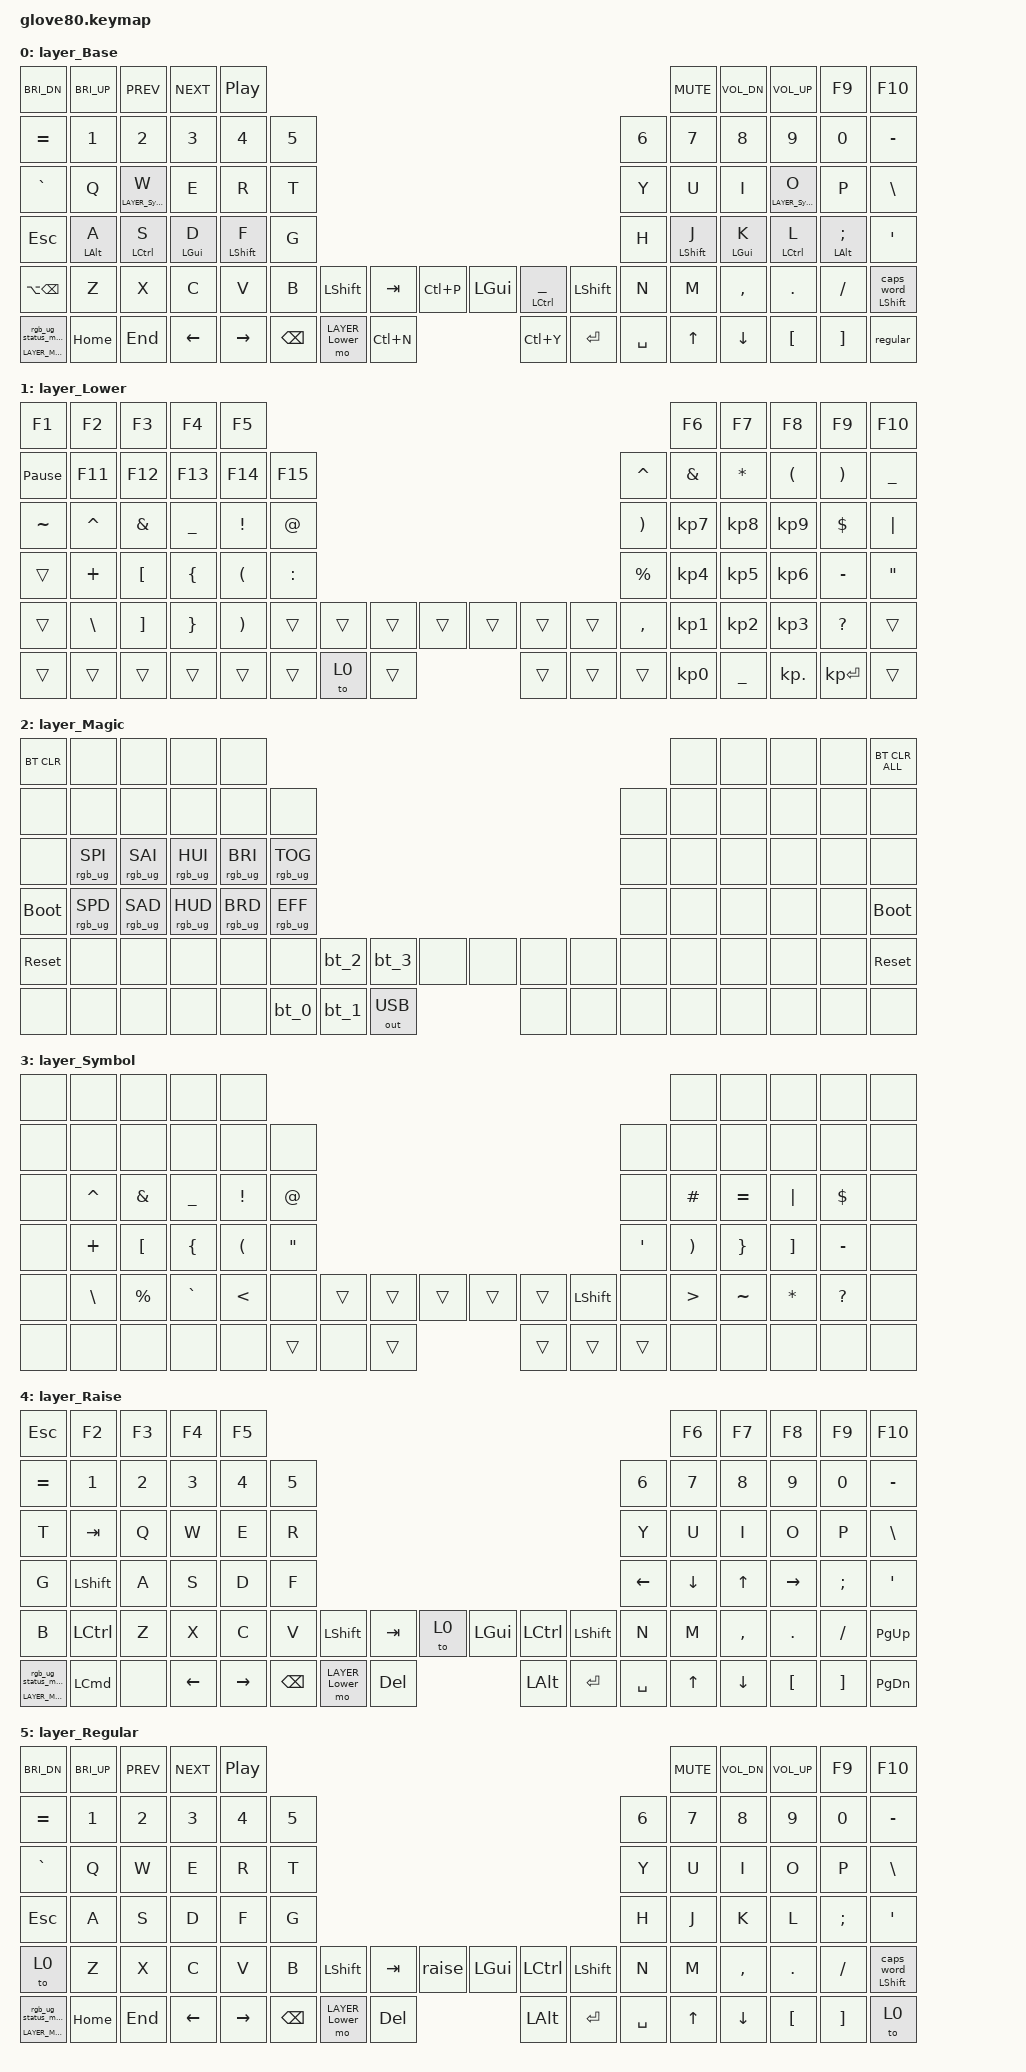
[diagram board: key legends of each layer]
/*
 * Copyright (c) 2020 The ZMK Contributors
 * Copyright (c) 2023 Innaworks Development Limited, trading as MoErgo
 *
 * SPDX-License-Identifier: MIT
 */

/*
 * Home row mods inspired by https://sunaku.github.io/home-row-mods.html#porting-to-zmk
 */

#include <behaviors.dtsi>
#include <dt-bindings/zmk/outputs.h>
#include <dt-bindings/zmk/keys.h>
#include <dt-bindings/zmk/bt.h>
#include <dt-bindings/zmk/rgb.h>

// Layer names
#define LAYER_Base 0
#define LAYER_Lower 1
#define LAYER_Magic 2
#define LAYER_Symbol 3
#define LAYER_Raise 4
#define LAYER_Regular 5

// Special keys
#define HYPER LC(LS(LG(LALT)))
#define MEH LC(LS(LALT))

// Default tapping term for hold-tap and tap-dance behaviors.
#define DEFAULT_TAPPING_TERM_MS 200

// Configure caps word to not terminate on hyphens (kebab-case) or backspace.
&caps_word {
    continue-list = <UNDERSCORE MINUS BACKSPACE>;
};

// System commands
/ {
  behaviors {
    // Raise layer key. Tap dance to toggle the layer on double tap.
    raise: raise {
      compatible = "zmk,behavior-tap-dance";
      #binding-cells = <0>;
      tapping-term-ms = <DEFAULT_TAPPING_TERM_MS>;
      bindings = <&mo LAYER_Raise>, <&to LAYER_Raise>;
    };
    // Regular keyboard layer key. Tap dance to toggle the layer on double tap.
    // Disables homerow mods. Useful for experiments comparing homerow mods to regular typing.
    regular: regular {
      compatible = "zmk,behavior-tap-dance";
      #binding-cells = <0>;
      tapping-term-ms = <DEFAULT_TAPPING_TERM_MS>;
      bindings = <&mo LAYER_Regular>, <&to LAYER_Regular>;
    };
    // Magic key. Tap for RGB status display.
    magic: magic {
      compatible = "zmk,behavior-hold-tap";
      #binding-cells = <2>;
      flavor = "tap-preferred";
      tapping-term-ms = <DEFAULT_TAPPING_TERM_MS>;
      bindings = <&mo>, <&rgb_ug_status_macro>;
    };
    // Shift/caps word key. Hold for shift, tap for caps word.
    smart_shift: smart_shift {
      compatible = "zmk,behavior-hold-tap";
      #binding-cells = <2>;
      flavor = "hold-preferred";
      tapping-term-ms = <DEFAULT_TAPPING_TERM_MS>;
      bindings = <&kp>, <&caps_word>;
    };
    // Symbol on tap, mod key on hold.
    modsym: mod_symbol {
      compatible = "zmk,behavior-hold-tap";
      #binding-cells = <2>;
      flavor = "tap-preferred";
      tapping-term-ms = <DEFAULT_TAPPING_TERM_MS>;
      bindings = <&kp>, <&kp>;
    };
  };

  macros {
    rgb_ug_status_macro: rgb_ug_status_macro {
      compatible = "zmk,behavior-macro";
      #binding-cells = <0>;
      bindings = <&rgb_ug RGB_STATUS>;
    };
  };
};

// Bluetooth
/ {
  behaviors {
    bt_0: bt_0 {
      compatible = "zmk,behavior-tap-dance";
      #binding-cells = <0>;
      tapping-term-ms = <DEFAULT_TAPPING_TERM_MS>;
      bindings = <&bt_select_0>, <&bt BT_DISC 0>;
    };
    bt_1: bt_1 {
      compatible = "zmk,behavior-tap-dance";
      #binding-cells = <0>;
      tapping-term-ms = <DEFAULT_TAPPING_TERM_MS>;
      bindings = <&bt_select_1>, <&bt BT_DISC 1>;
    };
    bt_2: bt_2 {
      compatible = "zmk,behavior-tap-dance";
      #binding-cells = <0>;
      tapping-term-ms = <DEFAULT_TAPPING_TERM_MS>;
      bindings = <&bt_select_2>, <&bt BT_DISC 2>;
    };
    bt_3: bt_3 {
      compatible = "zmk,behavior-tap-dance";
      #binding-cells = <0>;
      tapping-term-ms = <DEFAULT_TAPPING_TERM_MS>;
      bindings = <&bt_select_3>, <&bt BT_DISC 3>;
    };
  };

  macros {
    bt_select_0: bt_select_0 {
      compatible = "zmk,behavior-macro";
      #binding-cells = <0>;
      bindings = <&out OUT_BLE>, <&bt BT_SEL 0>;
    };
    bt_select_1: bt_select_1 {
      compatible = "zmk,behavior-macro";
      #binding-cells = <0>;
      bindings = <&out OUT_BLE>, <&bt BT_SEL 1>;
    };
    bt_select_2: bt_select_2 {
      compatible = "zmk,behavior-macro";
      #binding-cells = <0>;
      bindings = <&out OUT_BLE>, <&bt BT_SEL 2>;
    };
    bt_select_3: bt_select_3 {
      compatible = "zmk,behavior-macro";
      #binding-cells = <0>;
      bindings = <&out OUT_BLE>, <&bt BT_SEL 3>;
    };
  };
};

// Homerow mod configuration.
/ {
  behaviors {
    // Time before a hold is triggered.
    #define HOLDING_TIME_DEFAULT_MS 250
    // How long you need to wait after typing before home row mods can be used again.
    // Note: 100 WPM is around 120ms between keypresses.
    #define STREAK_DECAY_DEFAULT_MS 130
    // How much time you have left after tapping a key to hold it again in order to make it auto-repeat.
    #define QUICK_TAP_DEFAULT_MS 300
    // |------------------------|------------------------|
    // | LEFT_HAND_KEYS         |        RIGHT_HAND_KEYS |
    // |                        |                        |
    // |  0  1  2  3  4         |          5  6  7  8  9 |
    // | 10 11 12 13 14 15      |      16 17 18 19 20 21 |
    // | 22 23 24 25 26 27      |      28 29 30 31 32 33 |
    // | 34 35 36 37 38 39      |      40 41 42 43 44 45 |
    // | 46 47 48 49 50 51      |      58 59 60 61 62 63 |
    // | 64 65 66 67 68         |         75 76 77 78 79 |
    // |                69 52   |   57 74                |
    // |                 70 53  |  56 73                 |
    // |                  71 54 | 55 72                  |
    // |------------------------|------------------------|
    //
    #define LEFT_HAND_KEYS      \
          0  1  2  3  4         \
         10 11 12 13 14 15      \
         22 23 24 25 26 27      \
         34 35 36 37 38 39      \
         46 47 48 49 50 51      \
         64 65 66 67 68
    #define RIGHT_HAND_KEYS     \
                                           5  6  7  8  9 \
                                       16 17 18 19 20 21 \
                                       28 29 30 31 32 33 \
                                       40 41 42 43 44 45 \
                                       58 59 60 61 62 63 \
                                          75 76 77 78 79
    #define THUMB_KEYS          \
                        69 52       57 74                \
                         70 53     56 73                 \
                          71 54   55 72

    hrl: homerow_left_hand {
        compatible = "zmk,behavior-hold-tap";
        flavor = "tap-preferred";
        hold-trigger-key-positions = <RIGHT_HAND_KEYS THUMB_KEYS>;
        hold-trigger-on-release;  // Allow pressing multiple homerow mods at once.
        tapping-term-ms = <HOLDING_TIME_DEFAULT_MS>;
        quick-tap-ms = <QUICK_TAP_DEFAULT_MS>;
        require-prior-idle-ms = <STREAK_DECAY_DEFAULT_MS>;
        #binding-cells = <2>;
        bindings = <&kp>, <&kp>;
    };
    hrr: homerow_right_hand {
        compatible = "zmk,behavior-hold-tap";
        flavor = "tap-preferred";
        hold-trigger-key-positions = <LEFT_HAND_KEYS THUMB_KEYS>;
        hold-trigger-on-release;  // Allow pressing multiple homerow mods at once.
        tapping-term-ms = <HOLDING_TIME_DEFAULT_MS>;
        quick-tap-ms = <QUICK_TAP_DEFAULT_MS>;
        require-prior-idle-ms = <STREAK_DECAY_DEFAULT_MS>;
        #binding-cells = <2>;
        bindings = <&kp>, <&kp>;
    };
    hrll: homerow_left_hand_layer {
        compatible = "zmk,behavior-hold-tap";
        flavor = "balanced";
        hold-trigger-key-positions = <RIGHT_HAND_KEYS THUMB_KEYS>;
        tapping-term-ms = <HOLDING_TIME_DEFAULT_MS>;
        quick-tap-ms = <QUICK_TAP_DEFAULT_MS>;
        #binding-cells = <2>;
        bindings = <&mo>, <&kp>;
    };
    hrrl: homerow_right_hand_layer {
        compatible = "zmk,behavior-hold-tap";
        flavor = "balanced";
        hold-trigger-key-positions = <LEFT_HAND_KEYS THUMB_KEYS>;
        tapping-term-ms = <HOLDING_TIME_DEFAULT_MS>;
        quick-tap-ms = <QUICK_TAP_DEFAULT_MS>;
        #binding-cells = <2>;
        bindings = <&mo>, <&kp>;
    };
  };

  keymap {
    compatible = "zmk,keymap";

    layer_Base {
      bindings = <
         &kp C_BRI_DN  &kp C_BRI_UP            &kp C_PREV   &kp C_NEXT      &kp C_PP                                                                                                      &kp C_MUTE  &kp C_VOL_DN          &kp C_VOL_UP          &kp F9               &kp F10
            &kp EQUAL        &kp N1                &kp N2       &kp N3        &kp N4  &kp N5                                                                                    &kp N6        &kp N7        &kp N8                &kp N9          &kp N0             &kp MINUS
            &kp GRAVE         &kp Q  &hrll LAYER_Symbol W        &kp E         &kp R   &kp T                                                                                     &kp Y         &kp U         &kp I  &hrrl LAYER_Symbol O           &kp P              &kp BSLH
              &kp ESC   &hrl LALT A          &hrl LCTRL S  &hrl LGUI D  &hrl LSHFT F   &kp G                                                                                     &kp H  &hrr LSHFT J   &hrr LGUI K          &hrr LCTRL L  &hrr LALT SEMI               &kp SQT
         &kp LA(BSPC)         &kp Z                 &kp X        &kp C         &kp V   &kp B  &kp LSHFT          &kp TAB  &kp LC(P)   &kp LGUI  &modsym LCTRL UNDER  &kp LSHFT   &kp N         &kp M     &kp COMMA               &kp DOT        &kp FSLH  &smart_shift LSHFT 0
 &magic LAYER_Magic 0      &kp HOME               &kp END     &kp LEFT     &kp RIGHT           &kp BSPC  &mo LAYER_Lower  &kp LC(N)  &kp LC(Y)              &kp RET  &kp SPACE                &kp UP      &kp DOWN              &kp LBKT        &kp RBKT              &regular
      >;
    };

    // Lower layer with numpad on the right.
    layer_Lower {
      bindings = <
               &kp F1     &kp F2    &kp F3     &kp F4    &kp F5                                                                             &kp F6     &kp F7      &kp F8        &kp F9    &kp F10
      &kp PAUSE_BREAK    &kp F11   &kp F12    &kp F13   &kp F14    &kp F15                                                    &kp CARET   &kp AMPS   &kp STAR    &kp LPAR      &kp RPAR  &kp UNDER
            &kp TILDE  &kp CARET  &kp AMPS  &kp UNDER  &kp EXCL     &kp AT                                                     &kp RPAR  &kp KP_N7  &kp KP_N8   &kp KP_N9    &kp DOLLAR   &kp PIPE
               &trans   &kp PLUS  &kp LBKT   &kp LBRC  &kp LPAR  &kp COLON                                                  &kp PERCENT  &kp KP_N4  &kp KP_N5   &kp KP_N6     &kp MINUS    &kp DQT
               &trans   &kp BSLH  &kp RBKT   &kp RBRC  &kp RPAR     &trans  &trans  &trans  &trans  &trans  &trans  &trans    &kp COMMA  &kp KP_N1  &kp KP_N2   &kp KP_N3     &kp QMARK     &trans
               &trans     &trans    &trans     &trans    &trans             &trans   &to 0  &trans  &trans  &trans  &trans               &kp KP_N0  &kp UNDER  &kp KP_DOT  &kp KP_ENTER     &trans
      >;
    };

    // Default magic layer.
    layer_Magic {
      bindings = <
  &bt BT_CLR            &none            &none            &none            &none                                                                                  &none   &none   &none   &none  &bt BT_CLR_ALL
       &none            &none            &none            &none            &none            &none                                                         &none   &none   &none   &none   &none           &none
       &none  &rgb_ug RGB_SPI  &rgb_ug RGB_SAI  &rgb_ug RGB_HUI  &rgb_ug RGB_BRI  &rgb_ug RGB_TOG                                                         &none   &none   &none   &none   &none           &none
 &bootloader  &rgb_ug RGB_SPD  &rgb_ug RGB_SAD  &rgb_ug RGB_HUD  &rgb_ug RGB_BRD  &rgb_ug RGB_EFF                                                         &none   &none   &none   &none   &none     &bootloader
  &sys_reset            &none            &none            &none            &none            &none   &bt_2   &bt_3         &none   &none   &none   &none   &none   &none   &none   &none   &none      &sys_reset
       &none            &none            &none            &none            &none                    &bt_0   &bt_1  &out OUT_USB   &none   &none   &none           &none   &none   &none   &none           &none
      >;
    };

    // Symbol layer accessed through home row mods.
    // Common symbol combinations: "->", "!=", "/*", "#!"
    layer_Symbol {
      bindings = <
        &none      &none      &none      &none     &none                                                                          &none      &none     &none       &none   &none
        &none      &none      &none      &none     &none    &none                                                       &none     &none      &none     &none       &none   &none
        &none  &kp CARET   &kp AMPS  &kp UNDER  &kp EXCL   &kp AT                                                       &none  &kp HASH  &kp EQUAL  &kp PIPE  &kp DOLLAR   &none
        &none   &kp PLUS   &kp LBKT   &kp LBRC  &kp LPAR  &kp DQT                                                     &kp SQT  &kp RPAR   &kp RBRC  &kp RBKT   &kp MINUS   &none
        &none   &kp BSLH  &kp PRCNT  &kp GRAVE    &kp LT    &none  &trans  &trans  &trans  &trans  &trans  &kp LSHFT    &none    &kp GT  &kp TILDE  &kp STAR   &kp QMARK   &none
        &none      &none      &none      &none     &none           &trans   &none  &trans  &trans  &trans     &trans              &none      &none     &none       &none   &none
      >;
    };

    // Layer suitable for use when playing games.
    // - Left hand letters, including WASD, are shifted one position right.
    // - hjkl are arrows.
    // - Escape button at the top left.
    // - No homerow mods.
    layer_Raise {
      bindings = <
              &kp ESC     &kp F2  &kp F3    &kp F4     &kp F5                                                                                           &kp F6     &kp F7     &kp F8    &kp F9    &kp F10
            &kp EQUAL     &kp N1  &kp N2    &kp N3     &kp N4  &kp N5                                                                         &kp N6    &kp N7     &kp N8     &kp N9    &kp N0  &kp MINUS
                &kp T    &kp TAB   &kp Q     &kp W      &kp E   &kp R                                                                          &kp Y     &kp U      &kp I      &kp O     &kp P   &kp BSLH
                &kp G  &kp LSHFT   &kp A     &kp S      &kp D   &kp F                                                                       &kp LEFT  &kp DOWN     &kp UP  &kp RIGHT  &kp SEMI    &kp SQT
                &kp B  &kp LCTRL   &kp Z     &kp X      &kp C   &kp V  &kp LSHFT          &kp TAB    &to 0  &kp LGUI  &kp LCTRL  &kp LSHFT     &kp N     &kp M  &kp COMMA    &kp DOT  &kp FSLH  &kp PG_UP
 &magic LAYER_Magic 0   &kp LCMD   &none  &kp LEFT  &kp RIGHT           &kp BSPC  &mo LAYER_Lower  &kp DEL  &kp LALT  &kp ENTER  &kp SPACE              &kp UP   &kp DOWN   &kp LBKT  &kp RBKT  &kp PG_DN
      >;
    };

    // Regular keyboard mode with no homerow mods, etc.
    // Function keys are mapped to media keys, but lower layer is accessible.
    layer_Regular {
      bindings = <
         &kp C_BRI_DN  &kp C_BRI_UP  &kp C_PREV  &kp C_NEXT   &kp C_PP                                                                                       &kp C_MUTE  &kp C_VOL_DN   &kp C_VOL_UP    &kp F9               &kp F10
            &kp EQUAL        &kp N1      &kp N2      &kp N3     &kp N4  &kp N5                                                                       &kp N6      &kp N7        &kp N8         &kp N9    &kp N0             &kp MINUS
            &kp GRAVE         &kp Q       &kp W       &kp E      &kp R   &kp T                                                                        &kp Y       &kp U         &kp I          &kp O     &kp P              &kp BSLH
              &kp ESC         &kp A       &kp S       &kp D      &kp F   &kp G                                                                        &kp H       &kp J         &kp K          &kp L  &kp SEMI               &kp SQT
                &to 0         &kp Z       &kp X       &kp C      &kp V   &kp B  &kp LSHFT          &kp TAB   &raise  &kp LGUI  &kp LCTRL  &kp LSHFT   &kp N       &kp M     &kp COMMA        &kp DOT  &kp FSLH  &smart_shift LSHFT 0
 &magic LAYER_Magic 0      &kp HOME     &kp END    &kp LEFT  &kp RIGHT           &kp BSPC  &mo LAYER_Lower  &kp DEL  &kp LALT    &kp RET  &kp SPACE              &kp UP      &kp DOWN       &kp LBKT  &kp RBKT                 &to 0
      >;
    };
  };
};

/* Empty layer template
    layer_Empty {
      bindings = <
        &none    &none    &none    &none    &none                                                                            &none    &none    &none    &none    &none
        &none    &none    &none    &none    &none    &none                                                          &none    &none    &none    &none    &none    &none
        &none    &none    &none    &none    &none    &none                                                          &none    &none    &none    &none    &none    &none
        &none    &none    &none    &none    &none    &none                                                          &none    &none    &none    &none    &none    &none
        &none    &none    &none    &none    &none    &none    &none    &none    &none    &none    &none    &none    &none    &none    &none    &none    &none    &none
        &none    &none    &none    &none    &none             &none    &none    &none    &none    &none    &none             &none    &none    &none    &none    &none
      >;
    };
*/
